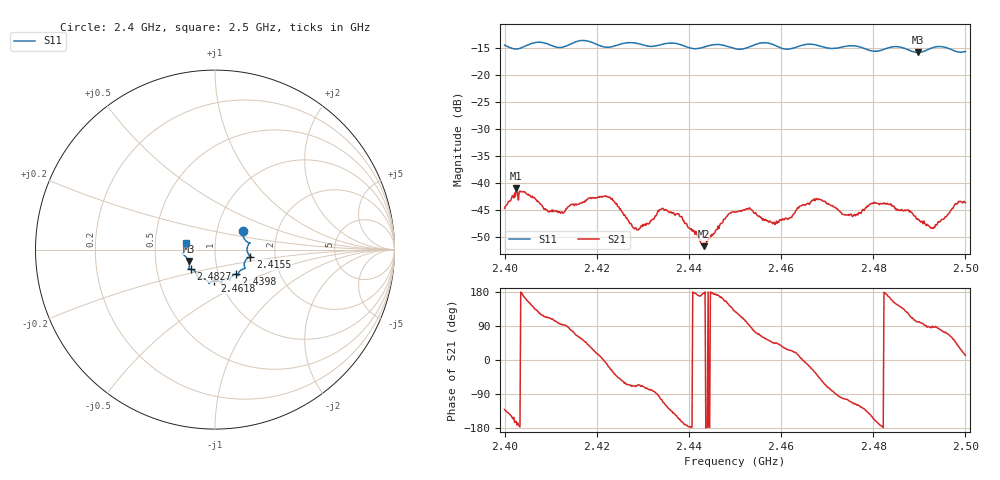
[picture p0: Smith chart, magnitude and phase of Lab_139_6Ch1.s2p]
# Hz S RI R 50
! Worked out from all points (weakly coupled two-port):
!   601 points, 2.4 GHz to 2.5 GHz, reference 50 ohm
!   highest |S21| = -40.94 dB at 2.4025 GHz (marker M1); lowest = -51.6 dB at 2.4432 GHz (marker M2)
!   lowest |S11| = -15.9 dB at 2.4897 GHz (marker M3), VSWR 1.38, Z = 36.9 - j4.82 ohm
!   |S11| at or under -10 dB: start of sweep to end of sweep
!   S12 and S22 are empty: the file has one direction only
!   S11 on the Smith chart (normalised r, x): 2.4 GHz: 1.33, +0.29; 2.4155 GHz: 1.49, -0.12; 2.4398 GHz: 1.21, -0.34; 2.4618 GHz: 0.94, -0.33; 2.4827 GHz: 0.75, -0.17; 2.5 GHz: 0.72, +0.06
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2.4e9  0.1551 0.1054  -0.00382 -0.00442  0 0  0 0
2.4025e9  0.1599 0.0662  -0.00853 -0.0028  0 0  0 0
2.409667e9  0.1876 0.0302  -0.00196 0.00504  0 0  0 0
2.4155e9  0.1977 -0.0397  0.00266 0.00584  0 0  0 0
2.416667e9  0.2025 -0.0431  0.00373 0.00536  0 0  0 0
2.4225e9  0.165 -0.0702  0.00712 -0.00217  0 0  0 0
2.428667e9  0.1641 -0.1053  0.00134 -0.00347  0 0  0 0
2.433333e9  0.1301 -0.1341  -0.000249 -0.0056  0 0  0 0
2.437667e9  0.13 -0.1418  -0.00463 -0.00235  0 0  0 0
2.439833e9  0.1152 -0.1365  -0.00389 -0.000285  0 0  0 0
2.443167e9  0.0874 -0.1565  -0.00261 0.000176  0 0  0 0
2.45e9  0.0649 -0.1617  -0.00333 0.00421  0 0  0 0
2.453333e9  0.037 -0.1787  0.000189 0.00579  0 0  0 0
2.458333e9  0.0354 -0.1861  0.00308 0.00305  0 0  0 0
2.461833e9  -0.0033 -0.1726  0.00432 0.00207  0 0  0 0
2.466667e9  -0.0346 -0.1879  0.00634 -0.00281  0 0  0 0
2.475833e9  -0.0948 -0.1585  -0.0021 -0.00466  0 0  0 0
2.482667e9  -0.135 -0.109  -0.00647 0.000541  0 0  0 0
2.483333e9  -0.1402 -0.1086  -0.00621 0.00135  0 0  0 0
2.489667e9  -0.1473 -0.0636  -0.000866 0.00461  0 0  0 0
2.492833e9  -0.1751 -0.0274  5.01e-05 0.00381  0 0  0 0
2.5e9  -0.1596 0.0388  0.00645 0.00138  0 0  0 0
